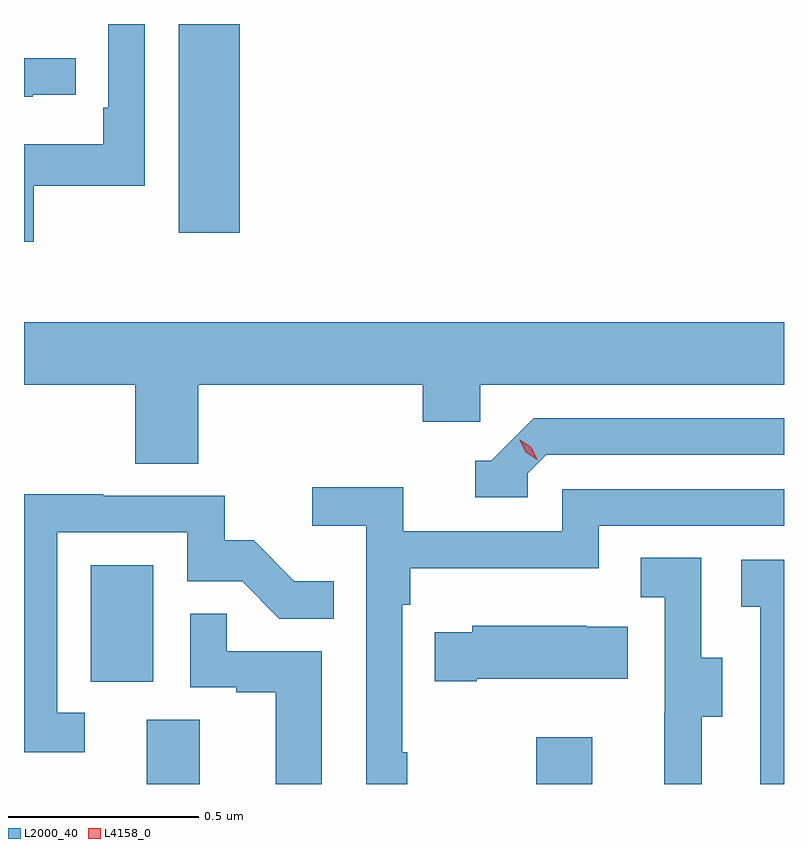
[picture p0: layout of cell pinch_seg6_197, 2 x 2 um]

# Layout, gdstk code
import gdstk
lib = gdstk.Library(unit=1e-6, precision=1e-09)
def R(c, l, rs):  # rectangles x0, y0, x1, y1
    for r in rs: c.add(gdstk.rectangle(r[:2], r[2:], *l))
def P(c, l, *ps):  # polygons
    for p in ps: c.add(gdstk.Polygon(p, *l))
L2000_40 = (2000, 40)
L4158_0 = (4158, 0)

pinch_seg6_197 = lib.new_cell('pinch_seg6_197')
R(pinch_seg6_197, L2000_40, [(1072.781,926.305,1072.921,926.474), (1073.806,926.305,1073.953,926.428), (1072.634,926.574,1072.798,926.881), (1072.865,927.756,1073.026,928.305)])
P(pinch_seg6_197, L2000_40, [(1072.483,927.879),(1072.776,927.879),(1072.776,928.305),(1072.68,928.305),(1072.68,928.084),(1072.667,928.084),(1072.667,927.988),(1072.458,927.988),(1072.458,927.732),(1072.483,927.732)],
  [(1072.481,928.119),(1072.594,928.119),(1072.594,928.215),(1072.458,928.215),(1072.458,928.114),(1072.481,928.114)],
  [(1072.916,927.356),(1073.507,927.356),(1073.507,927.258),(1073.658,927.258),(1073.658,927.356),(1074.458,927.356),(1074.458,927.52),(1072.458,927.52),(1072.458,927.356),(1072.751,927.356),(1072.751,927.148),(1072.916,927.148)],
  [(1073.784,927.123),(1073.832,927.171),(1074.458,927.171),(1074.458,927.267),(1073.799,927.267),(1073.688,927.156),(1073.645,927.156),(1073.645,927.06),(1073.784,927.06)],
  [(1073.467,926.389),(1073.454,926.389),(1073.454,926.777),(1073.474,926.777),(1073.474,926.873),(1073.97,926.873),(1073.97,926.985),(1074.458,926.985),(1074.458,927.081),(1073.874,927.081),(1073.874,926.97),(1073.456,926.97),(1073.456,927.086),(1073.217,927.086),(1073.217,926.984),(1073.358,926.984),(1073.358,926.305),(1073.467,926.305)],
  [(1072.618,926.493),(1072.545,926.493),(1072.545,926.967),(1072.887,926.967),(1072.887,926.838),(1073.032,926.838),(1073.13,926.74),(1073.273,926.74),(1073.273,926.839),(1073.169,926.839),(1073.062,926.946),(1072.986,926.946),(1072.986,927.063),(1072.667,927.063),(1072.667,927.068),(1072.458,927.068),(1072.458,926.388),(1072.618,926.388)],
  [(1074.241,926.482),(1074.295,926.482),(1074.295,926.637),(1074.24,926.637),(1074.24,926.9),(1074.081,926.9),(1074.081,926.797),(1074.144,926.797),(1074.144,926.493),(1074.143,926.493),(1074.143,926.305),(1074.241,926.305)],
  [(1074.458,926.895),(1074.345,926.895),(1074.345,926.771),(1074.396,926.771),(1074.396,926.305),(1074.458,926.305)],
  [(1073.242,926.655),(1072.991,926.655),(1072.991,926.753),(1072.896,926.753),(1072.896,926.559),(1073.017,926.559),(1073.017,926.547),(1073.12,926.547),(1073.12,926.305),(1073.242,926.305)],
  [(1073.65,926.582),(1074.047,926.582),(1074.047,926.719),(1073.939,926.719),(1073.939,926.722),(1073.637,926.722),(1073.637,926.704),(1073.539,926.704),(1073.539,926.575),(1073.65,926.575)])
P(pinch_seg6_197, L4158_0, [(1073.809,927.158),(1073.778,927.178),(1073.763,927.21),(1073.763,927.211),(1073.763,927.211),(1073.793,927.191),(1073.809,927.158),(1073.809,927.158)])

lib.write_gds('pinch_seg6_197.gds')
